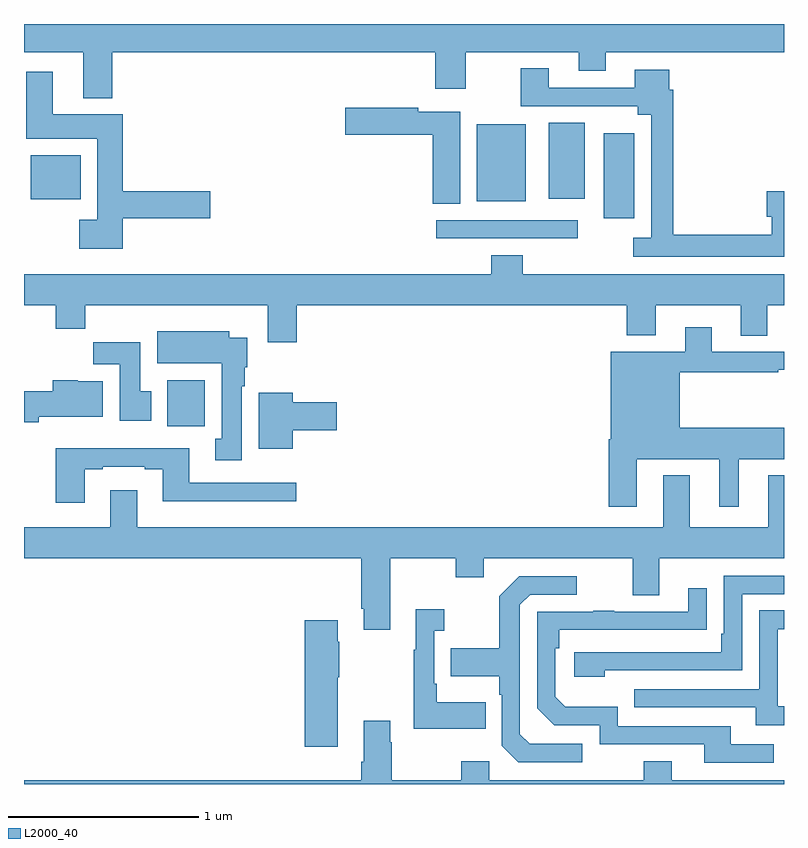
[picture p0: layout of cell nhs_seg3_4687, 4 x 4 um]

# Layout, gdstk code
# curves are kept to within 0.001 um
import gdstk
lib = gdstk.Library(unit=1e-6, precision=1e-09)
def R(c, l, rs):  # rectangles x0, y0, x1, y1
    for r in rs: c.add(gdstk.rectangle(r[:2], r[2:], *l))
def P(c, l, *ps):  # polygons
    for p in ps: c.add(gdstk.Polygon(p, *l))
L2000_40 = (2000, 40)

nhs_seg3_4687 = lib.new_cell('nhs_seg3_4687')
R(nhs_seg3_4687, L2000_40, [(363.755,696.284,363.952,696.526), (365.169,697.272,365.914,697.368), (366.05,697.377,366.211,697.825), (365.384,697.466,365.641,697.873), (363.035,697.478,363.298,697.708), (365.762,697.481,365.95,697.879)])
P(nhs_seg3_4687, L2000_40, [(363.464,698.252),(365.165,698.252),(365.165,698.058),(365.325,698.058),(365.325,698.252),(365.921,698.252),(365.921,698.153),(366.061,698.153),(366.061,698.252),(367,698.252),(367,698.4),(363,698.4),(363,698.252),(363.311,698.252),(363.311,698.009),(363.464,698.009)],
  [(367,697.52),(366.908,697.52),(366.908,697.385),(366.935,697.385),(366.935,697.292),(366.416,697.292),(366.416,698.054),(366.397,698.054),(366.397,698.158),(366.215,698.158),(366.215,698.064),(365.761,698.064),(365.761,698.167),(365.614,698.167),(365.614,697.968),(366.23,697.968),(366.23,697.922),(366.3,697.922),(366.3,697.276),(366.207,697.276),(366.207,697.176),(367,697.176)],
  [(363.521,697.378),(363.979,697.378),(363.979,697.52),(363.521,697.52),(363.521,697.924),(363.151,697.924),(363.151,698.149),(363.011,698.149),(363.011,697.796),(363.386,697.796),(363.386,697.369),(363.291,697.369),(363.291,697.217),(363.521,697.217)],
  [(365.296,697.939),(365.076,697.939),(365.076,697.959),(364.692,697.959),(364.692,697.817),(365.15,697.817),(365.15,697.453),(365.296,697.453)],
  [(364.436,696.92),(366.173,696.92),(366.173,696.761),(366.325,696.761),(366.325,696.92),(366.773,696.92),(366.773,696.76),(366.913,696.76),(366.913,696.92),(367,696.92),(367,697.084),(365.624,697.084),(365.624,697.183),(365.459,697.183),(365.459,697.084),(363,697.084),(363,696.92),(363.167,696.92),(363.167,696.796),(363.323,696.796),(363.323,696.92),(364.283,696.92),(364.283,696.726),(364.436,696.726)],
  [(366.226,696.11),(366.659,696.11),(366.659,695.859),(366.763,695.859),(366.763,696.11),(367,696.11),(367,696.274),(366.451,696.274),(366.451,696.567),(366.971,696.567),(366.971,696.579),(367,696.579),(367,696.675),(366.619,696.675),(366.619,696.805),(366.479,696.805),(366.479,696.676),(366.089,696.676),(366.089,696.214),(366.077,696.214),(366.077,695.859),(366.226,695.859)],
  [(364.147,696.494),(364.162,696.494),(364.162,696.594),(364.174,696.594),(364.174,696.748),(364.081,696.748),(364.081,696.784),(363.701,696.784),(363.701,696.614),(364.04,696.614),(364.04,696.218),(364.007,696.218),(364.007,696.105),(364.147,696.105)],
  [(363.67,696.468),(363.613,696.468),(363.613,696.726),(363.364,696.726),(363.364,696.608),(363.503,696.608),(363.503,696.312),(363.67,696.312)],
  [(363.078,696.332),(363.415,696.332),(363.415,696.52),(363.282,696.52),(363.282,696.526),(363.152,696.526),(363.152,696.468),(363,696.468),(363,696.305),(363.078,696.305)],
  [(364.414,696.263),(364.645,696.263),(364.645,696.41),(364.414,696.41),(364.414,696.46),(364.235,696.46),(364.235,696.164),(364.414,696.164)],
  [(363.319,696.057),(363.415,696.057),(363.415,696.069),(363.635,696.069),(363.635,696.057),(363.731,696.057),(363.731,695.888),(364.432,695.888),(364.432,695.985),(363.871,695.985),(363.871,696.166),(363.167,696.166),(363.167,695.88),(363.319,695.88)],
  [(364.927,695.588),(365.272,695.588),(365.272,695.489),(365.419,695.489),(365.419,695.588),(366.203,695.588),(366.203,695.394),(366.343,695.394),(366.343,695.588),(367,695.588),(367,696.025),(366.917,696.025),(366.917,695.752),(366.505,695.752),(366.505,696.025),(366.365,696.025),(366.365,695.752),(363.595,695.752),(363.595,695.947),(363.455,695.947),(363.455,695.752),(363,695.752),(363,695.588),(364.775,695.588),(364.775,695.323),(364.787,695.323),(364.787,695.211),(364.927,695.211)],
  [(366.056,694.998),(366.78,694.998),(366.78,695.4),(367,695.4),(367,695.496),(366.684,695.496),(366.684,695.191),(366.671,695.191),(366.671,695.094),(365.895,695.094),(365.895,694.964),(366.056,694.964)],
  [(365.938,694.611),(365.661,694.611),(365.61,694.662),(365.61,695.343),(365.664,695.397),(365.908,695.397),(365.908,695.493),(365.607,695.493),(365.502,695.387),(365.502,695.115),(365.245,695.115),(365.245,694.967),(365.502,694.967),(365.502,694.871),(365.514,694.871),(365.514,694.602),(365.601,694.515),(365.938,694.515)],
  [(366.946,694.608),(366.721,694.608),(366.721,694.704),(366.126,694.704),(366.126,694.807),(365.849,694.807),(365.796,694.86),(365.796,695.114),(365.816,695.114),(365.816,695.211),(366.593,695.212),(366.593,695.431),(366.497,695.431),(366.497,695.307),(366.107,695.307),(366.107,695.312),(365.995,695.312),(365.995,695.307),(365.7,695.307),(365.7,694.8),(365.79,694.71),(366.03,694.71),(366.03,694.608),(366.581,694.608),(366.581,694.512),(366.946,694.512)],
  [(365.429,694.831),(365.173,694.831),(365.173,694.927),(365.16,694.927),(365.16,695.207),(365.212,695.207),(365.212,695.32),(365.063,695.32),(365.063,695.107),(365.052,695.107),(365.052,694.691),(365.429,694.691)],
  [(367,694.809),(366.966,694.809),(366.966,695.214),(367,695.214),(367,695.315),(366.87,695.315),(366.87,694.899),(366.211,694.899),(366.211,694.803),(366.851,694.803),(366.851,694.709),(367,694.709)],
  [(364.651,694.961),(364.659,694.961),(364.659,695.15),(364.651,695.15),(364.651,695.263),(364.478,695.263),(364.478,694.596),(364.651,694.596)],
  [(367,694.42),(366.409,694.42),(366.409,694.519),(366.262,694.519),(366.262,694.42),(365.448,694.42),(365.448,694.519),(365.302,694.519),(365.302,694.42),(364.935,694.42),(364.935,694.619),(364.927,694.619),(364.927,694.732),(364.787,694.732),(364.787,694.516),(364.775,694.516),(364.775,694.42),(363,694.42),(363,694.4),(367,694.4)])

lib.write_gds('nhs_seg3_4687.gds')
